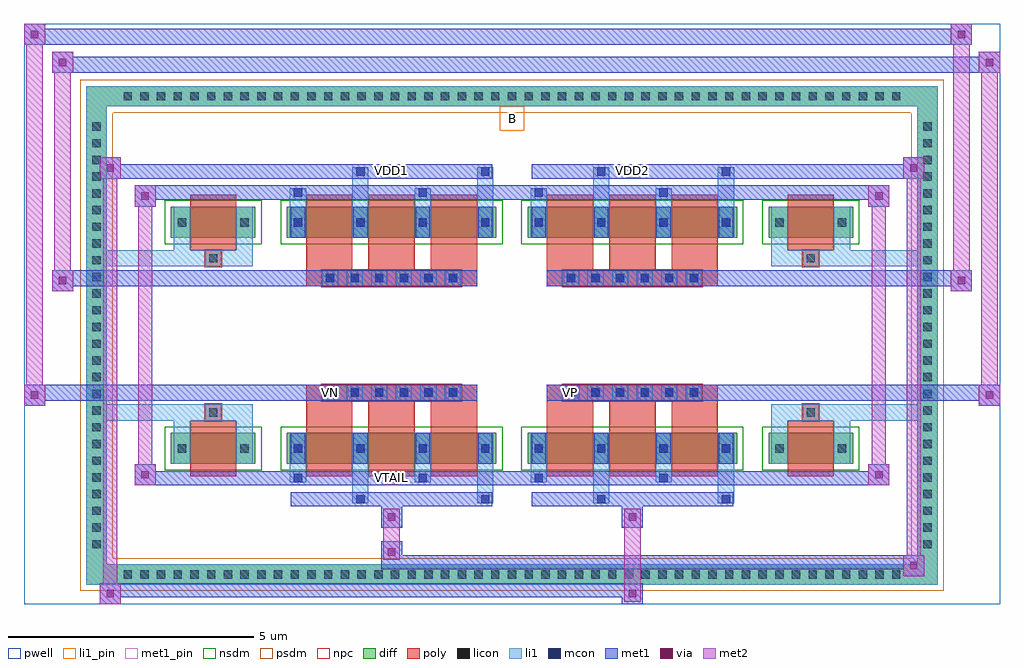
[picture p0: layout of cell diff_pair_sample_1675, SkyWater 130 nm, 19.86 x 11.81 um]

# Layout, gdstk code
import gdstk
lib = gdstk.Library(unit=1e-6, precision=5e-09)
def R(c, l, rs):  # rectangles x0, y0, x1, y1
    for r in rs: c.add(gdstk.rectangle(r[:2], r[2:], *l))
def A(c, l, x, y, w, h, nx, ny, dx, dy):  # array of equal rectangles
    R(c, l, [(x+i*dx, y+j*dy, x+i*dx+w, y+j*dy+h) for i in range(nx) for j in range(ny)])
def P(c, l, *ps):  # polygons
    for p in ps: c.add(gdstk.Polygon(p, *l))
pwell = (64, 44)
diff = (65, 20)
poly = (66, 20)
licon = (66, 44)
li1_pin = (67, 16)
li1 = (67, 20)
mcon = (67, 44)
met1_pin = (68, 16)
met1 = (68, 20)
via = (68, 44)
met2 = (69, 20)
nsdm = (93, 44)
psdm = (94, 20)
npc = (95, 20)

diff_pair_sample_1675 = lib.new_cell('diff_pair_sample_1675')
R(diff_pair_sample_1675, pwell, [(-9.93,-5.47,9.93,6.34), (-7.25,-3.66,-0.01,-0.8), (0.01,-3.66,7.25,-0.8), (-7.25,0.8,-0.01,3.66), (0.01,0.8,7.25,3.66)])
A(diff_pair_sample_1675, diff, -8.025, -5.07, 0.41, 0.41, 47, 2, 0.34, 9.73)
A(diff_pair_sample_1675, diff, -8.66, -4.455, 0.41, 0.41, 1, 26, 0, 0.34)
A(diff_pair_sample_1675, diff, 8.25, -4.455, 0.41, 0.41, 1, 26, 0, 0.34)
R(diff_pair_sample_1675, diff, [(-8.025,-5.07,8.025,-4.66), (-8.66,-4.455,-8.25,4.455), (8.25,-4.455,8.66,4.455), (-6.94,-2.615,-5.22,-1.985), (-4.58,-2.615,-0.32,-1.985), (0.32,-2.615,4.58,-1.985), (5.22,-2.615,6.94,-1.985), (-6.94,1.985,-5.22,2.615), (-4.58,1.985,-0.32,2.615), (0.32,1.985,4.58,2.615), (5.22,1.985,6.94,2.615), (-8.025,4.66,8.025,5.07)])
P(diff_pair_sample_1675, diff, [(8.66,5.07),(-8.66,5.07),(-8.66,-4.66),(-8.25,-4.66),(-8.25,4.66),(8.25,4.66),(8.25,-4.66),(-8.25,-4.66),(-8.66,-4.66),(-8.66,-5.07),(8.66,-5.07)])
A(diff_pair_sample_1675, poly, -4.19, -2.865, 0.94, 1.13, 3, 2, 1.27, 4.6)
A(diff_pair_sample_1675, poly, 0.71, -2.865, 0.94, 1.13, 3, 2, 1.27, 4.6)
A(diff_pair_sample_1675, poly, -4.19, -1.735, 0.94, 0.405, 3, 2, 1.27, 3.065)
A(diff_pair_sample_1675, poly, 0.71, -1.735, 0.94, 0.405, 3, 2, 1.27, 3.065)
A(diff_pair_sample_1675, poly, -3.865, -1.33, 0.33, 0.33, 6, 2, 0.5, 2.33)
A(diff_pair_sample_1675, poly, 1.035, -1.33, 0.33, 0.33, 6, 2, 0.5, 2.33)
R(diff_pair_sample_1675, poly, [(-6.55,-2.865,-5.61,-1.735), (5.61,-2.865,6.55,-1.735), (-6.245,-1.735,-5.915,-1.405), (-6.245,-1.735,-5.915,-1.405), (5.915,-1.735,6.245,-1.405), (5.915,-1.735,6.245,-1.405), (-4.19,-1.33,-0.71,-1), (0.71,-1.33,4.19,-1), (-4.19,1,-0.71,1.33), (0.71,1,4.19,1.33), (-6.245,1.405,-5.915,1.735), (-6.245,1.405,-5.915,1.735), (5.915,1.405,6.245,1.735), (5.915,1.405,6.245,1.735), (-6.55,1.735,-5.61,2.865), (5.61,1.735,6.55,2.865)])
A(diff_pair_sample_1675, licon, -7.905, -4.95, 0.17, 0.17, 47, 2, 0.34, 9.73)
A(diff_pair_sample_1675, licon, -8.54, -4.335, 0.17, 0.17, 1, 26, 0, 0.34)
A(diff_pair_sample_1675, licon, 8.37, -4.335, 0.17, 0.17, 1, 26, 0, 0.34)
A(diff_pair_sample_1675, licon, -4.44, -2.385, 0.17, 0.17, 4, 2, 1.27, 4.6)
A(diff_pair_sample_1675, licon, 0.46, -2.385, 0.17, 0.17, 4, 2, 1.27, 4.6)
A(diff_pair_sample_1675, licon, -3.785, -1.25, 0.17, 0.17, 6, 2, 0.5, 2.33)
A(diff_pair_sample_1675, licon, 1.115, -1.25, 0.17, 0.17, 6, 2, 0.5, 2.33)
R(diff_pair_sample_1675, licon, [(-6.8,-2.385,-6.63,-2.215), (-5.53,-2.385,-5.36,-2.215), (5.36,-2.385,5.53,-2.215), (6.63,-2.385,6.8,-2.215), (-6.165,-1.655,-5.995,-1.485), (5.995,-1.655,6.165,-1.485), (-6.165,1.485,-5.995,1.655), (5.995,1.485,6.165,1.655), (-6.8,2.215,-6.63,2.385), (-5.53,2.215,-5.36,2.385), (5.36,2.215,5.53,2.385), (6.63,2.215,6.8,2.385)])
R(diff_pair_sample_1675, li1_pin, [(-0.25,4.16,0.25,4.66)])
A(diff_pair_sample_1675, li1, -7.985, -5.03, 0.33, 0.33, 47, 2, 0.34, 9.73)
A(diff_pair_sample_1675, li1, -8.62, -4.415, 0.33, 0.33, 1, 26, 0, 0.34)
A(diff_pair_sample_1675, li1, 8.29, -4.415, 0.33, 0.33, 1, 26, 0, 0.34)
A(diff_pair_sample_1675, li1, -4.52, -2.615, 0.33, 0.63, 4, 2, 1.27, 4.6)
A(diff_pair_sample_1675, li1, 0.38, -2.615, 0.33, 0.63, 4, 2, 1.27, 4.6)
A(diff_pair_sample_1675, li1, -4.52, -2.465, 0.33, 0.33, 4, 2, 1.27, 4.6)
A(diff_pair_sample_1675, li1, 0.38, -2.465, 0.33, 0.33, 4, 2, 1.27, 4.6)
A(diff_pair_sample_1675, li1, -3.865, -1.33, 0.33, 0.33, 6, 2, 0.5, 2.33)
A(diff_pair_sample_1675, li1, 1.035, -1.33, 0.33, 0.33, 6, 2, 0.5, 2.33)
R(diff_pair_sample_1675, li1, [(-8.66,-5.07,-8.25,-4.66), (-8.66,-5.07,-8.25,-4.66), (-8.25,-5.07,8.25,-4.66), (8.25,-5.07,8.66,-4.66), (8.25,-5.07,8.66,-4.66), (-8.66,-4.66,-8.25,4.66), (8.25,-4.66,8.66,4.66), (-3.25,-3.42,-2.92,-2.615), (-3.17,-3.42,-3,-3.25), (-0.71,-3.42,-0.38,-2.615), (-0.63,-3.42,-0.46,-3.25), (1.65,-3.42,1.98,-2.615), (1.73,-3.42,1.9,-3.25), (4.19,-3.42,4.52,-2.615), (4.27,-3.42,4.44,-3.25), (-4.52,-2.99,-4.19,-2.615), (-4.44,-2.99,-4.27,-2.82), (-1.98,-2.99,-1.65,-2.615), (-1.9,-2.99,-1.73,-2.82), (0.38,-2.99,0.71,-2.615), (0.46,-2.99,0.63,-2.82), (2.92,-2.99,3.25,-2.615), (3,-2.99,3.17,-2.82), (-6.88,-2.615,-6.55,-1.985), (-5.61,-2.615,-5.28,-1.985), (5.28,-2.615,5.61,-1.985), (6.55,-2.615,6.88,-1.985), (-6.88,-2.465,-6.55,-2.135), (-5.61,-2.465,-5.28,-2.135), (5.28,-2.465,5.61,-2.135), (6.55,-2.465,6.88,-2.135), (-4.44,-2.385,-4.27,-2.215), (-4.44,-2.385,-4.27,-2.215), (-3.17,-2.385,-3,-2.215), (-3.17,-2.385,-3,-2.215), (-1.9,-2.385,-1.73,-2.215), (-1.9,-2.385,-1.73,-2.215), (-0.63,-2.385,-0.46,-2.215), (-0.63,-2.385,-0.46,-2.215), (0.46,-2.385,0.63,-2.215), (0.46,-2.385,0.63,-2.215), (1.73,-2.385,1.9,-2.215), (1.73,-2.385,1.9,-2.215), (3,-2.385,3.17,-2.215), (3,-2.385,3.17,-2.215), (4.27,-2.385,4.44,-2.215), (4.27,-2.385,4.44,-2.215), (-6.88,-1.985,-6.55,-1.405), (-5.61,-1.985,-5.28,-1.405), (5.28,-1.985,5.61,-1.405), (6.55,-1.985,6.88,-1.405), (-8.66,-1.735,-6.245,-1.405), (-6.88,-1.735,-6.245,-1.405), (-6.245,-1.735,-5.915,-1.405), (-5.915,-1.735,-5.28,-1.405), (5.28,-1.735,5.915,-1.405), (5.915,-1.735,6.245,-1.405), (5.915,-1.735,8.66,-1.405), (6.245,-1.735,6.88,-1.405), (-8.66,1.405,-6.245,1.735), (-6.88,1.405,-6.245,1.735), (-6.88,1.405,-6.55,1.985), (-6.245,1.405,-5.915,1.735), (-5.915,1.405,-5.28,1.735), (-5.61,1.405,-5.28,1.985), (5.28,1.405,5.915,1.735), (5.28,1.405,5.61,1.985), (5.915,1.405,6.245,1.735), (5.915,1.405,8.66,1.735), (6.245,1.405,6.88,1.735), (6.55,1.405,6.88,1.985), (-6.88,1.985,-6.55,2.615), (-5.61,1.985,-5.28,2.615), (5.28,1.985,5.61,2.615), (6.55,1.985,6.88,2.615), (-6.88,2.135,-6.55,2.465), (-5.61,2.135,-5.28,2.465), (5.28,2.135,5.61,2.465), (6.55,2.135,6.88,2.465), (-4.44,2.215,-4.27,2.385), (-4.44,2.215,-4.27,2.385), (-3.17,2.215,-3,2.385), (-3.17,2.215,-3,2.385), (-1.9,2.215,-1.73,2.385), (-1.9,2.215,-1.73,2.385), (-0.63,2.215,-0.46,2.385), (-0.63,2.215,-0.46,2.385), (0.46,2.215,0.63,2.385), (0.46,2.215,0.63,2.385), (1.73,2.215,1.9,2.385), (1.73,2.215,1.9,2.385), (3,2.215,3.17,2.385), (3,2.215,3.17,2.385), (4.27,2.215,4.44,2.385), (4.27,2.215,4.44,2.385), (-4.52,2.615,-4.19,2.99), (-3.25,2.615,-2.92,3.42), (-1.98,2.615,-1.65,2.99), (-0.71,2.615,-0.38,3.42), (0.38,2.615,0.71,2.99), (1.65,2.615,1.98,3.42), (2.92,2.615,3.25,2.99), (4.19,2.615,4.52,3.42), (-4.44,2.82,-4.27,2.99), (-1.9,2.82,-1.73,2.99), (0.46,2.82,0.63,2.99), (3,2.82,3.17,2.99), (-3.17,3.25,-3,3.42), (-0.63,3.25,-0.46,3.42), (1.73,3.25,1.9,3.42), (4.27,3.25,4.44,3.42), (-8.66,4.66,-8.25,5.07), (-8.66,4.66,-8.25,5.07), (-8.25,4.66,8.25,5.07), (8.25,4.66,8.66,5.07), (8.25,4.66,8.66,5.07)])
A(diff_pair_sample_1675, mcon, -4.44, -2.385, 0.17, 0.17, 4, 2, 1.27, 4.6)
A(diff_pair_sample_1675, mcon, 0.46, -2.385, 0.17, 0.17, 4, 2, 1.27, 4.6)
A(diff_pair_sample_1675, mcon, -3.785, -1.25, 0.17, 0.17, 6, 2, 0.5, 2.33)
A(diff_pair_sample_1675, mcon, 1.115, -1.25, 0.17, 0.17, 6, 2, 0.5, 2.33)
R(diff_pair_sample_1675, mcon, [(-3.17,-3.42,-3,-3.25), (-0.63,-3.42,-0.46,-3.25), (1.73,-3.42,1.9,-3.25), (4.27,-3.42,4.44,-3.25), (-4.44,-2.99,-4.27,-2.82), (-1.9,-2.99,-1.73,-2.82), (0.46,-2.99,0.63,-2.82), (3,-2.99,3.17,-2.82), (-4.44,2.82,-4.27,2.99), (-1.9,2.82,-1.73,2.99), (0.46,2.82,0.63,2.99), (3,2.82,3.17,2.99), (-3.17,3.25,-3,3.42), (-0.63,3.25,-0.46,3.42), (1.73,3.25,1.9,3.42), (4.27,3.25,4.44,3.42)])
R(diff_pair_sample_1675, met1_pin, [(-2.585,-3.03,-2.315,-2.76), (-3.835,-1.29,-3.565,-1.02), (1.065,-1.29,1.335,-1.02), (-2.585,3.21,-2.315,3.48), (2.315,3.21,2.585,3.48)])
A(diff_pair_sample_1675, met1, -4.5, -2.615, 0.29, 0.63, 4, 2, 1.27, 4.6)
A(diff_pair_sample_1675, met1, 0.4, -2.615, 0.29, 0.63, 4, 2, 1.27, 4.6)
A(diff_pair_sample_1675, met1, -4.5, -2.445, 0.29, 0.29, 4, 2, 1.27, 4.6)
A(diff_pair_sample_1675, met1, 0.4, -2.445, 0.29, 0.29, 4, 2, 1.27, 4.6)
A(diff_pair_sample_1675, met1, -3.845, -1.31, 0.29, 0.29, 6, 2, 0.5, 2.33)
A(diff_pair_sample_1675, met1, 1.055, -1.31, 0.29, 0.29, 6, 2, 0.5, 2.33)
R(diff_pair_sample_1675, met1, [(-8.39,-5.47,-7.96,-5.04), (2.235,-5.47,2.665,-5.04), (-8.39,-5.33,2.665,-5.04), (7.96,-4.9,8.39,-4.47), (-2.665,-4.76,8.39,-4.47), (-2.665,-4.62,-2.235,-4.19), (-2.665,-3.91,-2.235,-3.48), (2.235,-3.91,2.665,-3.48), (-4.5,-3.48,-0.4,-3.19), (-3.23,-3.48,-2.94,-3.19), (-0.69,-3.48,-0.4,-3.19), (0.4,-3.48,4.5,-3.19), (1.67,-3.48,1.96,-3.19), (4.21,-3.48,4.5,-3.19), (-7.68,-3.05,-7.25,-2.62), (-7.68,-3.05,-4.5,-2.76), (-4.5,-3.05,-4.21,-2.76), (-4.5,-3.05,-0.4,-2.76), (-1.96,-3.05,-1.67,-2.76), (-0.4,-3.05,0.4,-2.76), (0.4,-3.05,0.69,-2.76), (0.4,-3.05,4.5,-2.76), (2.94,-3.05,3.23,-2.76), (4.5,-3.05,7.68,-2.76), (7.25,-3.05,7.68,-2.62), (-9.93,-1.43,-9.5,-1), (9.5,-1.43,9.93,-1), (-9.93,-1.33,-0.71,-1), (-4.19,-1.33,-0.71,-1), (0.71,-1.33,4.19,-1), (0.71,-1.33,9.93,-1), (-9.36,0.9,-8.93,1.33), (8.93,0.9,9.36,1.33), (-9.36,1,-4.19,1.33), (-4.19,1,-0.71,1.33), (0.71,1,4.19,1.33), (4.19,1,9.36,1.33), (-7.68,2.62,-7.25,3.05), (7.25,2.62,7.68,3.05), (-7.68,2.76,-4.5,3.05), (-4.5,2.76,-4.21,3.05), (-4.5,2.76,-0.4,3.05), (-1.96,2.76,-1.67,3.05), (-0.4,2.76,0.4,3.05), (0.4,2.76,0.69,3.05), (0.4,2.76,4.5,3.05), (2.94,2.76,3.23,3.05), (4.5,2.76,7.68,3.05), (-8.39,3.19,-7.96,3.62), (-8.39,3.19,-4.5,3.48), (-4.5,3.19,-0.4,3.48), (-3.23,3.19,-2.94,3.48), (-0.69,3.19,-0.4,3.48), (0.4,3.19,4.5,3.48), (1.67,3.19,1.96,3.48), (4.21,3.19,4.5,3.48), (4.5,3.19,8.39,3.48), (7.96,3.19,8.39,3.62), (-9.36,5.34,-8.93,5.77), (-9.36,5.34,-7.25,5.67), (-7.25,5.34,7.25,5.67), (7.25,5.34,9.93,5.67), (9.5,5.34,9.93,5.77), (-9.93,5.91,-9.5,6.34), (-9.93,5.91,-7.25,6.24), (-7.25,5.91,7.25,6.24), (7.25,5.91,9.36,6.24), (8.93,5.91,9.36,6.34)])
R(diff_pair_sample_1675, via, [(-8.25,-5.33,-8.1,-5.18), (2.375,-5.33,2.525,-5.18), (8.1,-4.76,8.25,-4.61), (-2.525,-4.48,-2.375,-4.33), (-2.525,-3.77,-2.375,-3.62), (2.375,-3.77,2.525,-3.62), (-7.54,-2.91,-7.39,-2.76), (7.39,-2.91,7.54,-2.76), (-9.79,-1.29,-9.64,-1.14), (9.64,-1.29,9.79,-1.14), (-9.22,1.04,-9.07,1.19), (9.07,1.04,9.22,1.19), (-7.54,2.76,-7.39,2.91), (7.39,2.76,7.54,2.91), (-8.25,3.33,-8.1,3.48), (8.1,3.33,8.25,3.48), (-9.22,5.48,-9.07,5.63), (9.64,5.48,9.79,5.63), (-9.79,6.05,-9.64,6.2), (9.07,6.05,9.22,6.2)])
R(diff_pair_sample_1675, met2, [(-8.39,-5.47,-7.96,-5.04), (-8.32,-5.47,-8.03,3.62), (-8.03,-5.47,-7.96,-5.04), (-8.34,-5.42,-8.01,-5.09), (2.285,-5.42,2.615,-5.09), (2.285,-5.09,2.615,-3.86), (7.96,-4.9,8.39,-4.47), (8.03,-4.9,8.32,3.62), (8.32,-4.9,8.39,-4.47), (8.01,-4.85,8.34,-4.52), (-2.615,-4.57,-2.285,-4.24), (-2.615,-4.24,-2.285,-3.86), (-2.615,-3.86,-2.285,-3.53), (2.285,-3.86,2.615,-3.53), (-7.68,-3.05,-7.25,-2.62), (-7.61,-3.05,-7.32,3.05), (-7.32,-3.05,-7.25,-2.62), (7.25,-3.05,7.68,-2.62), (7.32,-3.05,7.61,3.05), (7.61,-3.05,7.68,-2.62), (-7.63,-3,-7.3,-2.67), (7.3,-3,7.63,-2.67), (-9.93,-1.43,-9.5,-1), (-9.88,-1.43,-9.55,6.34), (-9.55,-1.43,-9.5,-1), (9.5,-1.43,9.93,-1), (9.55,-1.43,9.88,5.77), (9.88,-1.43,9.93,-1), (-9.88,-1.38,-9.55,-1.05), (9.55,-1.38,9.88,-1.05), (-9.36,0.9,-8.93,1.33), (-9.31,0.9,-8.98,5.77), (-8.98,0.9,-8.93,1.33), (8.93,0.9,9.36,1.33), (8.98,0.9,9.31,6.34), (9.31,0.9,9.36,1.33), (-9.31,0.95,-8.98,1.28), (8.98,0.95,9.31,1.28), (-7.68,2.62,-7.25,3.05), (-7.32,2.62,-7.25,3.05), (7.25,2.62,7.68,3.05), (7.61,2.62,7.68,3.05), (-7.63,2.67,-7.3,3), (7.3,2.67,7.63,3), (-8.39,3.19,-7.96,3.62), (-8.03,3.19,-7.96,3.62), (7.96,3.19,8.39,3.62), (8.32,3.19,8.39,3.62), (-8.34,3.24,-8.01,3.57), (8.01,3.24,8.34,3.57), (-9.36,5.34,-8.93,5.77), (-8.98,5.34,-8.93,5.77), (9.5,5.34,9.93,5.77), (9.88,5.34,9.93,5.77), (-9.31,5.39,-8.98,5.72), (9.55,5.39,9.88,5.72), (-9.93,5.91,-9.5,6.34), (-9.55,5.91,-9.5,6.34), (8.93,5.91,9.36,6.34), (9.31,5.91,9.36,6.34), (-9.88,5.96,-9.55,6.29), (8.98,5.96,9.31,6.29)])
R(diff_pair_sample_1675, nsdm, [(-7.07,-2.745,-5.09,-1.855), (-4.71,-2.745,-0.19,-1.855), (0.19,-2.745,4.71,-1.855), (5.09,-2.745,7.07,-1.855), (-7.07,1.855,-5.09,2.745), (-4.71,1.855,-0.19,2.745), (0.19,1.855,4.71,2.745), (5.09,1.855,7.07,2.745)])
P(diff_pair_sample_1675, psdm, [(8.79,5.2),(-8.79,5.2),(-8.79,-4.53),(-8.12,-4.53),(-8.12,4.53),(8.12,4.53),(8.12,-4.53),(-8.12,-4.53),(-8.79,-4.53),(-8.79,-5.2),(8.79,-5.2)])
A(diff_pair_sample_1675, npc, -3.885, -1.35, 0.37, 0.37, 6, 2, 0.5, 2.33)
A(diff_pair_sample_1675, npc, 1.015, -1.35, 0.37, 0.37, 6, 2, 0.5, 2.33)
R(diff_pair_sample_1675, npc, [(-6.265,-1.755,-5.895,-1.385), (5.895,-1.755,6.265,-1.385), (-3.885,-1.35,-3.015,-0.98), (-3.885,-1.35,-3.015,-0.98), (-3.385,-1.35,-2.515,-0.98), (-3.385,-1.35,-2.515,-0.98), (-2.885,-1.35,-2.015,-0.98), (-2.885,-1.35,-2.015,-0.98), (-2.385,-1.35,-1.515,-0.98), (-2.385,-1.35,-1.515,-0.98), (-1.885,-1.35,-1.015,-0.98), (-1.885,-1.35,-1.015,-0.98), (1.015,-1.35,1.885,-0.98), (1.015,-1.35,1.885,-0.98), (1.515,-1.35,2.385,-0.98), (1.515,-1.35,2.385,-0.98), (2.015,-1.35,2.885,-0.98), (2.015,-1.35,2.885,-0.98), (2.515,-1.35,3.385,-0.98), (2.515,-1.35,3.385,-0.98), (3.015,-1.35,3.885,-0.98), (3.015,-1.35,3.885,-0.98), (-3.885,0.98,-3.015,1.35), (-3.885,0.98,-3.015,1.35), (-3.385,0.98,-2.515,1.35), (-3.385,0.98,-2.515,1.35), (-2.885,0.98,-2.015,1.35), (-2.885,0.98,-2.015,1.35), (-2.385,0.98,-1.515,1.35), (-2.385,0.98,-1.515,1.35), (-1.885,0.98,-1.015,1.35), (-1.885,0.98,-1.015,1.35), (1.015,0.98,1.885,1.35), (1.015,0.98,1.885,1.35), (1.515,0.98,2.385,1.35), (1.515,0.98,2.385,1.35), (2.015,0.98,2.885,1.35), (2.015,0.98,2.885,1.35), (2.515,0.98,3.385,1.35), (2.515,0.98,3.385,1.35), (3.015,0.98,3.885,1.35), (3.015,0.98,3.885,1.35), (-6.265,1.385,-5.895,1.755), (5.895,1.385,6.265,1.755)])
diff_pair_sample_1675.add(gdstk.Label('VTAIL', (-2.45,-2.895), layer=68, texttype=5))
diff_pair_sample_1675.add(gdstk.Label('VN', (-3.7,-1.155), layer=68, texttype=5))
diff_pair_sample_1675.add(gdstk.Label('VP', (1.2,-1.155), layer=68, texttype=5))
diff_pair_sample_1675.add(gdstk.Label('B', (0,4.41), layer=67, texttype=5))
diff_pair_sample_1675.add(gdstk.Label('VDD2', (2.45,3.345), layer=68, texttype=5))
diff_pair_sample_1675.add(gdstk.Label('VDD1', (-2.45,3.345), layer=68, texttype=5))

lib.write_gds('diff_pair_sample_1675.gds')
